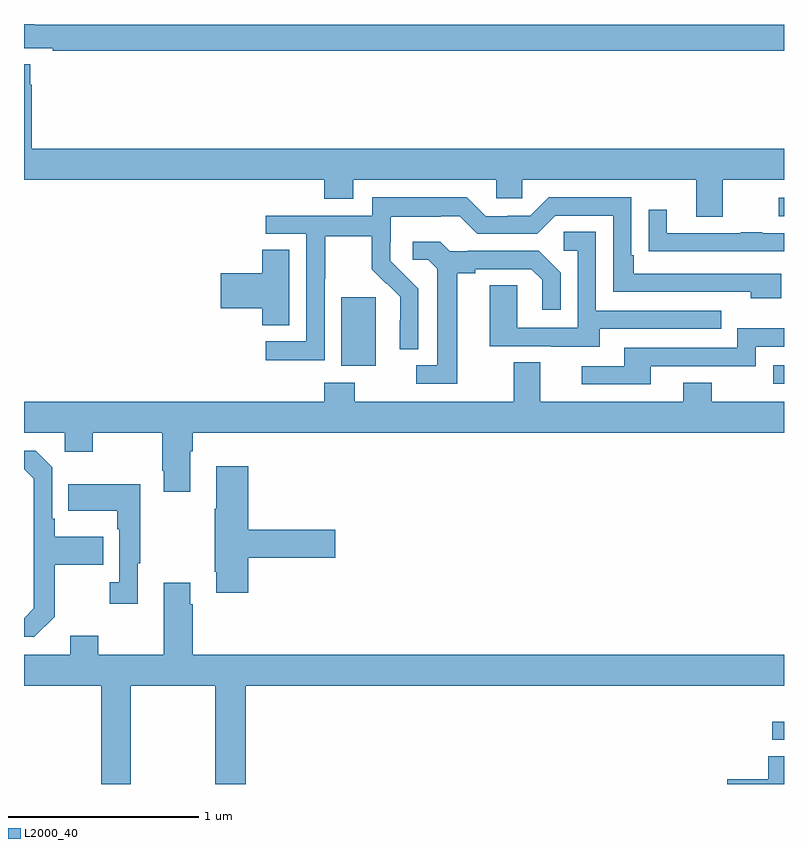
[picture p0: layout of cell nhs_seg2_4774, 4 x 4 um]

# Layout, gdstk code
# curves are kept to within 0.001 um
import gdstk
lib = gdstk.Library(unit=1e-6, precision=1e-09)
def R(c, l, rs):  # rectangles x0, y0, x1, y1
    for r in rs: c.add(gdstk.rectangle(r[:2], r[2:], *l))
def P(c, l, *ps):  # polygons
    for p in ps: c.add(gdstk.Polygon(p, *l))
L2000_40 = (2000, 40)

nhs_seg2_4774 = lib.new_cell('nhs_seg2_4774')
R(nhs_seg2_4774, L2000_40, [(374.937,634.032,375,634.128), (374.943,635.907,375,636.003), (372.671,636.002,372.85,636.363), (374.973,636.789,375,636.885)])
P(nhs_seg2_4774, L2000_40, [(375,637.796),(371.056,637.796),(371.056,637.8),(371,637.8),(371,637.673),(371.152,637.673),(371.152,637.66),(375,637.66)],
  [(374.677,636.98),(375,636.98),(375,637.144),(371.041,637.144),(371.041,637.481),(371.034,637.481),(371.034,637.588),(371,637.588),(371,636.98),(372.581,636.98),(372.581,636.881),(372.733,636.881),(372.733,636.98),(373.485,636.98),(373.485,636.882),(373.623,636.882),(373.623,636.98),(374.537,636.98),(374.537,636.786),(374.677,636.786)],
  [(372.582,636.46),(372.585,636.46),(372.585,636.684),(372.829,636.684),(372.829,636.509),(372.906,636.432),(372.909,636.435),(372.98,636.365),(372.98,636.242),(372.978,636.242),(372.978,636.088),(373.074,636.088),(373.074,636.406),(372.928,636.554),(372.928,636.651),(372.93,636.651),(372.93,636.785),(373.193,636.785),(373.193,636.789),(373.293,636.789),(373.386,636.696),(373.701,636.696),(373.797,636.792),(374.1,636.792),(374.1,636.39),(374.825,636.39),(374.825,636.356),(374.986,636.356),(374.986,636.486),(374.209,636.486),(374.209,636.583),(374.196,636.583),(374.196,636.888),(373.761,636.888),(373.665,636.792),(373.547,636.792),(373.547,636.789),(373.431,636.789),(373.331,636.889),(372.834,636.889),(372.834,636.792),(372.273,636.792),(372.273,636.696),(372.486,636.696),(372.486,636.129),(372.273,636.129),(372.273,636.031),(372.582,636.031)],
  [(375,636.699),(374.885,636.699),(374.885,636.704),(374.773,636.704),(374.773,636.699),(374.383,636.699),(374.383,636.823),(374.287,636.823),(374.287,636.604),(374.389,636.604),(374.389,636.603),(375,636.603)],
  [(374.029,636.195),(374.669,636.195),(374.669,636.291),(374.01,636.291),(374.01,636.707),(373.842,636.707),(373.842,636.606),(373.914,636.606),(373.914,636.201),(373.596,636.201),(373.596,636.425),(373.451,636.425),(373.451,636.105),(373.775,636.105),(373.775,636.101),(374.029,636.101)],
  [(373.279,636.488),(373.375,636.488),(373.375,636.51),(373.67,636.51),(373.727,636.453),(373.727,636.297),(373.824,636.297),(373.824,636.49),(373.708,636.606),(373.336,636.606),(373.336,636.603),(373.242,636.603),(373.19,636.655),(373.047,636.655),(373.047,636.558),(373.128,636.558),(373.175,636.511),(373.175,636.003),(373.065,636.003),(373.065,635.907),(373.279,635.907)],
  [(372.397,636.611),(372.254,636.611),(372.254,636.488),(372.036,636.488),(372.036,636.305),(372.254,636.305),(372.254,636.214),(372.397,636.214)],
  [(374.299,636),(374.85,636),(374.85,636.102),(375,636.102),(375,636.199),(374.754,636.199),(374.754,636.096),(374.159,636.096),(374.159,636),(373.935,636),(373.935,635.904),(374.299,635.904)],
  [(371.875,635.552),(371.888,635.552),(371.888,635.648),(375,635.648),(375,635.812),(374.619,635.812),(374.619,635.911),(374.471,635.911),(374.471,635.812),(373.717,635.812),(373.717,636.02),(373.577,636.02),(373.577,635.812),(372.741,635.812),(372.741,635.911),(372.581,635.911),(372.581,635.812),(371,635.812),(371,635.648),(371.214,635.648),(371.214,635.549),(371.361,635.549),(371.361,635.648),(371.728,635.648),(371.728,635.449),(371.735,635.449),(371.735,635.337),(371.875,635.337)],
  [(371.161,634.681),(371.161,634.954),(371.417,634.954),(371.417,635.101),(371.161,635.101),(371.161,635.197),(371.148,635.197),(371.148,635.466),(371.061,635.553),(371,635.553),(371,635.457),(371.052,635.406),(371.052,634.725),(371,634.673),(371,634.575),(371.055,634.575)],
  [(372.179,634.991),(372.637,634.991),(372.637,635.138),(372.179,635.138),(372.179,635.473),(372.011,635.473),(372.011,635.249),(372.004,635.249),(372.004,634.918),(372.011,634.918),(372.011,634.806),(372.179,634.806)],
  [(371.599,634.961),(371.611,634.961),(371.611,635.377),(371.233,635.377),(371.233,635.237),(371.49,635.237),(371.49,635.141),(371.502,635.141),(371.502,634.862),(371.451,634.862),(371.451,634.749),(371.599,634.749)],
  [(371.562,634.316),(372.007,634.316),(372.007,633.8),(372.167,633.8),(372.167,634.316),(375,634.316),(375,634.48),(371.888,634.48),(371.888,634.745),(371.875,634.745),(371.875,634.858),(371.735,634.858),(371.735,634.48),(371.391,634.48),(371.391,634.579),(371.243,634.579),(371.243,634.48),(371,634.48),(371,634.316),(371.407,634.316),(371.407,633.8),(371.562,633.8)],
  [(375,633.947),(374.918,633.947),(374.918,633.824),(374.7,633.824),(374.7,633.8),(375,633.8)])

lib.write_gds('nhs_seg2_4774.gds')
